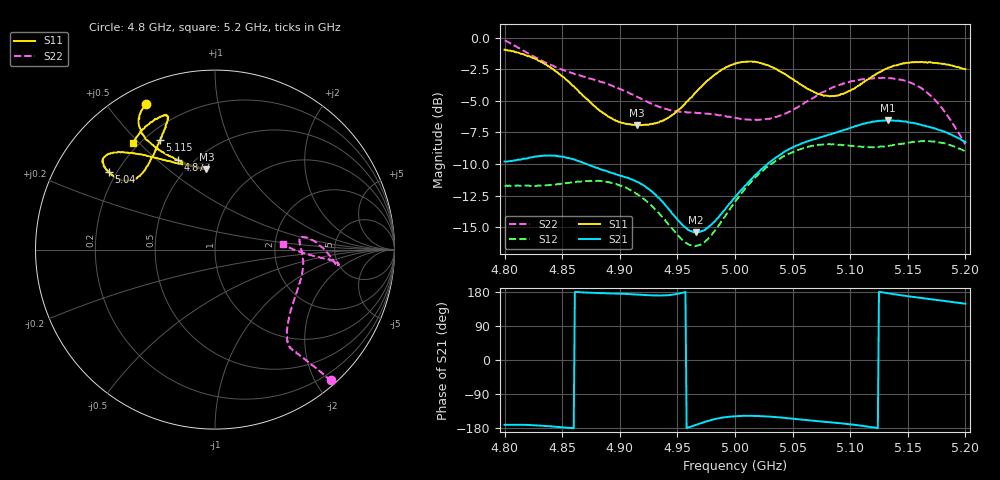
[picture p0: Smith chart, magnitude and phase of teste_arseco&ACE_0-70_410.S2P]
! Network Analyzer HP8722D
! Hewlett-Packard
! Data name: Linha & Wilkinson
! Saver's name: Rodrigo Anjos
! Comments: Teste da utilização de aquisição
! continua pelo VNA HP8722D
! Time and date: 8/5/2025 16:10
!  Frequency  S11  S21  S12  S22
# HZ  S  MA R 50
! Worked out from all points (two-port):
!   401 points, 4.8 GHz to 5.2 GHz, reference 50 ohm
!   highest |S21| = -6.53 dB at 5.133 GHz (marker M1); lowest = -15.4 dB at 4.966 GHz (marker M2)
!   |S21| within 3 dB of the highest: 4.821 GHz to 4.855 GHz (34.9 MHz wide, 0.721 % of centre); 5.035 GHz to end of sweep
!   lowest |S11| = -6.9 dB at 4.915 GHz (marker M3), VSWR 2.63, Z = 30.7 + j34.4 ohm
!   |S11| at or under -10 dB: nowhere
!   |S22| runs from -8.4 to -0.2 dB; largest |S21 - S12| = 0.83
!   S11 on the Smith chart (normalised r, x): 4.8 GHz: 0.08, +0.63; 4.877 GHz: 0.42, +0.59; 5.04 GHz: 0.17, +0.32; 5.115 GHz: 0.26, +0.59; 5.2 GHz: 0.18, +0.48
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4.8e9  0.8958 115.5  0.3233 -171.1  0.2587 -86.4  0.9747 -48.4
4.819e9  0.8498 119.9  0.333 -171.3  0.2592 -82.3  0.8734 -49.6
4.835e9  0.7852 121.8  0.3414 -173.9  0.2602 -77.1  0.799 -50.6
4.867e9  0.5958 117.1  0.3215 178.5  0.2696 -68.4  0.7051 -52.4
4.877e9  0.5403 112.5  0.3092 177.2  0.2717 -67.5  0.6831 -52.6
4.898e9  0.4678 101.5  0.2866 175.3  0.2618 -68.0  0.6333 -50.7
4.915e9  0.4494 96.2  0.2684 172.7  0.2405 -69.9  0.584 -46.1
4.934e9  0.4616 100.5  0.2319 170.2  0.2022 -70.5  0.532 -36.3
4.955e9  0.539 115.5  0.1801 177.8  0.1576 -60.7  0.5084 -22.6
4.966e9  0.6085 122.9  0.1696 -171.5  0.1499 -48.6  0.5048 -16.0
4.978e9  0.6869 129.1  0.1795 -159.7  0.1629 -35.1  0.4991 -10.0
5e9  0.7899 137.2  0.2334 -148.6  0.2243 -21.9  0.4819 -0.3
5.019e9  0.8002 141.5  0.2896 -147.8  0.2833 -19.8  0.472 5.7
5.04e9  0.7321 143.9  0.3464 -151.8  0.3345 -20.1  0.4927 8.3
5.067e9  0.6151 141.5  0.3946 -159.9  0.3734 -22.4  0.5741 3.1
5.088e9  0.5891 132.4  0.4219 -166.0  0.3774 -25.6  0.6443 -3.6
5.115e9  0.6817 116.8  0.4606 -175.7  0.3682 -28.5  0.6877 -7.1
5.133e9  0.76 110.7  0.4718 176.0  0.3729 -30.4  0.6909 -6.4
5.134e9  0.7611 110.5  0.4697 175.6  0.3736 -30.6  0.6913 -6.4
5.162e9  0.8017 112.4  0.4515 163.5  0.3894 -37.5  0.6305 -4.9
5.18e9  0.7873 118.8  0.4276 156.6  0.3831 -43.2  0.5233 -3.0
5.2e9  0.7498 127.6  0.3858 148.4  0.3547 -48.6  0.3781 4.5
